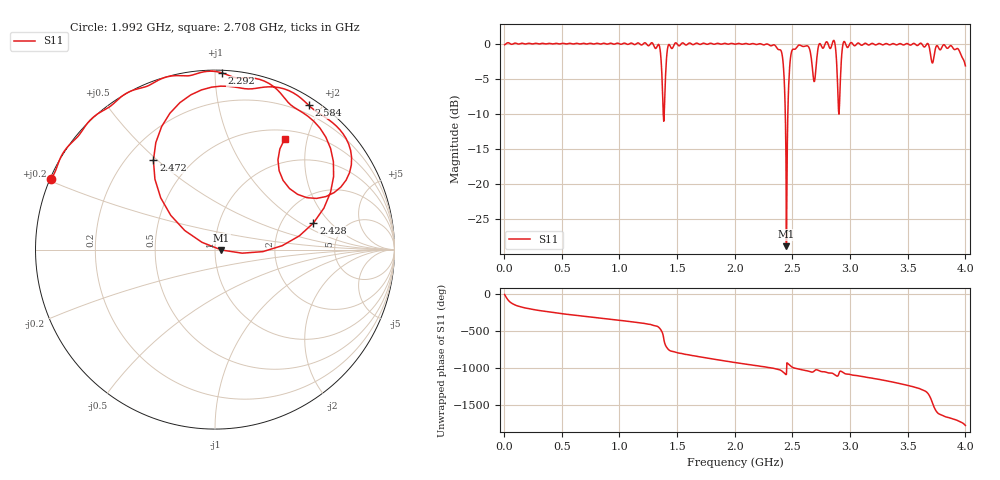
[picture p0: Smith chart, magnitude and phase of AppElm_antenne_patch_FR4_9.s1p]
! TOUCHSTONE file generated by CST MICROWAVE STUDIO
! Date and time: Tue Jun 14 11:51:05 2022
! Project name: AppElm_antenne_patch_FR4.cst
! Parameters = {L=51.75; W=58.5; e=0.035; h=1.6; lambda=0.190476; ls=120; w0=2.54; w1=0.847; ws=120; y0=18; y1=23.8}
! Header version: 2018
! Port assignment regex: !\s*Touchstone port\s*([0-9]+)\s*=\s*(CST MWS port|CST DS port)\s*([0-9]+|Zmin|Zmax)\s*\(\"(.*)\"\)(\s*mode\s*([0-9]+))?.*
! Touchstone port assignment:
! Touchstone port 1 = CST MWS port 1 ("")
# GHz S MA R 50
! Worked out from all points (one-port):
!   1000 points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, 4 MHz to 4 GHz, reference 50 ohm
!   lowest |S11| = -28.8 dB at 2.448 GHz (marker M1), VSWR 1.08, Z = 53.8 - j0.261 ohm
!   |S11| at or under -10 dB: 1.38 GHz to 1.388 GHz (8.229 MHz wide, 0.595 % of centre); 2.438 GHz to 2.46 GHz (22.2 MHz wide, 0.906 % of centre); 2.903686 GHz to 2.904111 GHz (425 kHz wide, 0.0146 % of centre)
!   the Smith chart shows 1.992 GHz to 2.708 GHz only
!   S11 on the Smith chart (normalised r, x): 1.992 GHz: 0.00, +0.20; 2.292 GHz: 0.01, +1.04; 2.428 GHz: 3.00, +1.31; 2.472 GHz: 0.31, +0.48; 2.584 GHz: 0.09, +1.84; 2.708 GHz: 0.62, +1.64
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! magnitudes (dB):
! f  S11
! 4 MHz  -0.2
! 504 MHz  0.0
! 1.004 GHz  -0.1
! 1.336 GHz  -0.1
! 1.384 GHz  -11.0
! 1.428 GHz  -0.1
! 1.504 GHz  -0.1
! 1.992 GHz  0.0
! 2.004 GHz  -0.1
! 2.292 GHz  -0.1
! 2.4 GHz  -1.0
! 2.416 GHz  -2.2
! 2.428 GHz  -4.9
! 2.448 GHz  -28.8
! 2.464 GHz  -7.6
! 2.472 GHz  -4.4
! 2.484 GHz  -1.9
! 2.504 GHz  -0.8
! 2.584 GHz  -0.4
! 2.684 GHz  -5.1
! 2.708 GHz  -2.7
! 2.736 GHz  0.0
! 2.856 GHz  0.4
! 2.904 GHz  -10.0
! 2.944 GHz  0.2
! 3.004 GHz  0.1
! 3.504 GHz  -0.1
! 4 GHz  -3.2
